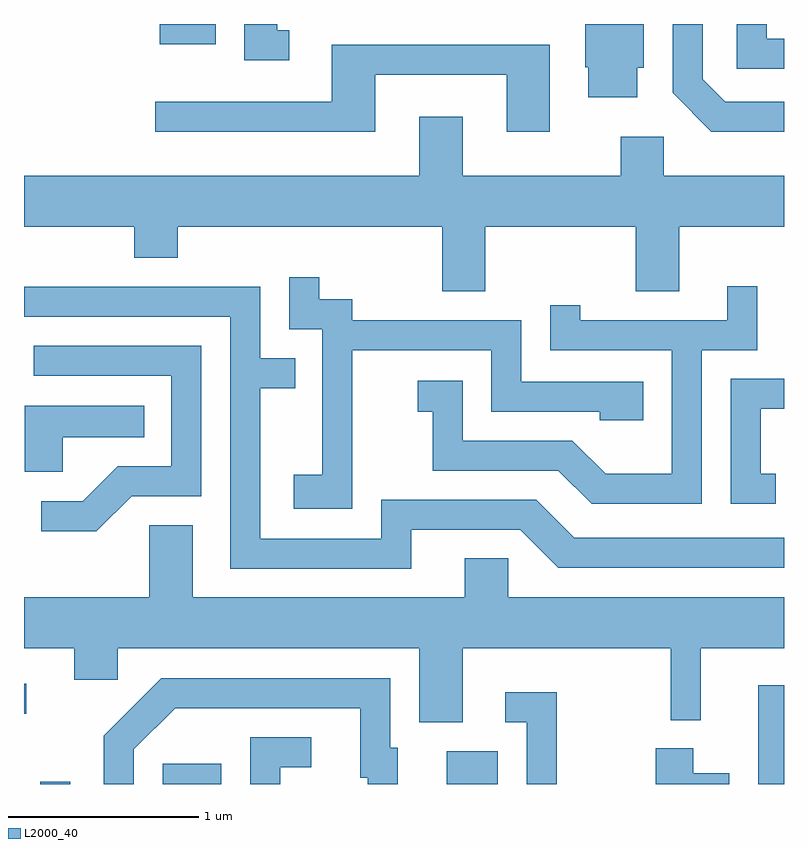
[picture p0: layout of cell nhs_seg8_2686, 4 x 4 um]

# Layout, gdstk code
import gdstk
lib = gdstk.Library(unit=1e-6, precision=1e-09)
def R(c, l, rs):  # rectangles x0, y0, x1, y1
    for r in rs: c.add(gdstk.rectangle(r[:2], r[2:], *l))
def P(c, l, *ps):  # polygons
    for p in ps: c.add(gdstk.Polygon(p, *l))
L2000_40 = (2000, 40)

nhs_seg8_2686 = lib.new_cell('nhs_seg8_2686')
R(nhs_seg8_2686, L2000_40, [(265.696,1862.342,265.854,1862.353), (266.341,1862.342,266.649,1862.449), (267.836,1862.342,268.104,1862.514), (269.476,1862.342,269.611,1862.863), (265.611,1862.711,265.623,1862.869), (266.326,1866.236,266.619,1866.342)])
P(nhs_seg8_2686, L2000_40, [(269.611,1866.264),(269.519,1866.264),(269.519,1866.342),(269.361,1866.342),(269.361,1866.106),(269.611,1866.106)],
  [(269.611,1865.934),(269.302,1865.934),(269.184,1866.052),(269.184,1866.342),(269.026,1866.342),(269.026,1865.979),(269.229,1865.776),(269.611,1865.776)],
  [(268.839,1866.111),(268.874,1866.111),(268.874,1866.342),(268.566,1866.342),(268.566,1866.115),(268.581,1866.115),(268.581,1865.956),(268.839,1865.956)],
  [(267.008,1866.309),(266.944,1866.309),(266.944,1866.342),(266.771,1866.342),(266.771,1866.151),(267.008,1866.151)],
  [(267.459,1866.076),(268.151,1866.076),(268.151,1865.776),(268.379,1865.776),(268.379,1866.234),(267.231,1866.234),(267.231,1865.934),(266.303,1865.934),(266.303,1865.776),(267.459,1865.776)],
  [(268.039,1865.276),(268.831,1865.276),(268.831,1864.936),(269.059,1864.936),(269.059,1865.276),(269.611,1865.276),(269.611,1865.544),(268.979,1865.544),(268.979,1865.749),(268.751,1865.749),(268.751,1865.544),(267.919,1865.544),(267.919,1865.854),(267.691,1865.854),(267.691,1865.544),(265.611,1865.544),(265.611,1865.276),(266.191,1865.276),(266.191,1865.111),(266.419,1865.111),(266.419,1865.276),(267.811,1865.276),(267.811,1864.936),(268.039,1864.936)],
  [(267.339,1864.626),(268.071,1864.626),(268.071,1864.301),(268.641,1864.301),(268.641,1864.256),(268.869,1864.256),(268.869,1864.459),(268.229,1864.459),(268.229,1864.784),(267.339,1864.784),(267.339,1864.894),(267.164,1864.894),(267.164,1865.008),(267.006,1865.008),(267.006,1864.736),(267.181,1864.736),(267.181,1863.969),(267.031,1863.969),(267.031,1863.791),(267.339,1863.791)],
  [(269.179,1864.626),(269.469,1864.626),(269.469,1864.963),(269.311,1864.963),(269.311,1864.784),(268.539,1864.784),(268.539,1864.863),(268.381,1864.863),(268.381,1864.626),(269.021,1864.626),(269.021,1863.974),(268.672,1863.974),(268.497,1864.149),(267.919,1864.149),(267.919,1864.464),(267.683,1864.464),(267.683,1864.301),(267.761,1864.301),(267.761,1863.991),(268.424,1863.991),(268.599,1863.816),(269.179,1863.816)],
  [(267.649,1863.681),(268.224,1863.681),(268.424,1863.481),(269.611,1863.481),(269.611,1863.639),(268.507,1863.639),(268.307,1863.839),(267.491,1863.839),(267.491,1863.634),(266.854,1863.634),(266.854,1864.426),(267.038,1864.426),(267.038,1864.584),(266.854,1864.584),(266.854,1864.959),(265.611,1864.959),(265.611,1864.801),(266.696,1864.801),(266.696,1863.476),(267.649,1863.476)],
  [(266.177,1863.856),(266.544,1863.856),(266.544,1864.649),(265.663,1864.649),(265.663,1864.491),(266.386,1864.491),(266.386,1864.014),(266.104,1864.014),(265.919,1863.829),(265.703,1863.829),(265.703,1863.671),(265.992,1863.671)],
  [(269.568,1863.974),(269.489,1863.974),(269.489,1864.316),(269.611,1864.316),(269.611,1864.474),(269.331,1864.474),(269.331,1863.816),(269.568,1863.816)],
  [(265.814,1864.166),(266.243,1864.166),(266.243,1864.334),(265.616,1864.334),(265.616,1863.986),(265.814,1863.986)],
  [(267.919,1863.056),(269.016,1863.056),(269.016,1862.678),(269.174,1862.678),(269.174,1863.056),(269.611,1863.056),(269.611,1863.324),(268.159,1863.324),(268.159,1863.529),(267.931,1863.529),(267.931,1863.324),(266.499,1863.324),(266.499,1863.704),(266.271,1863.704),(266.271,1863.324),(265.611,1863.324),(265.611,1863.056),(265.876,1863.056),(265.876,1862.891),(266.104,1862.891),(266.104,1863.056),(267.691,1863.056),(267.691,1862.666),(267.919,1862.666)],
  [(266.189,1862.524),(266.407,1862.741),(267.381,1862.741),(267.381,1862.376),(267.421,1862.376),(267.421,1862.342),(267.579,1862.342),(267.579,1862.534),(267.539,1862.534),(267.539,1862.899),(266.334,1862.899),(266.031,1862.597),(266.031,1862.342),(266.189,1862.342)],
  [(268.414,1862.824),(268.143,1862.824),(268.143,1862.666),(268.256,1862.666),(268.256,1862.342),(268.414,1862.342)],
  [(266.959,1862.431),(267.123,1862.431),(267.123,1862.589),(266.801,1862.589),(266.801,1862.342),(266.959,1862.342)],
  [(269.324,1862.399),(269.134,1862.399),(269.134,1862.529),(268.936,1862.529),(268.936,1862.342),(269.324,1862.342)])

lib.write_gds('nhs_seg8_2686.gds')
